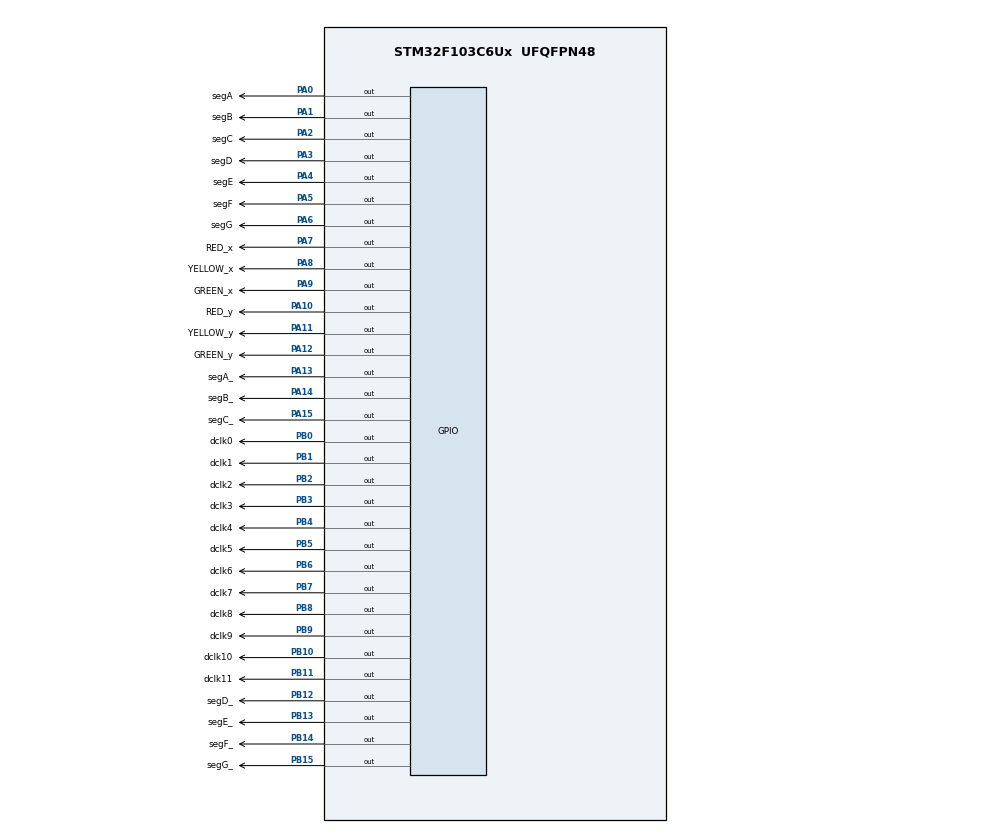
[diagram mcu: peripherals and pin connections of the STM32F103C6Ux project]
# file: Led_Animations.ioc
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Mcu.Family=STM32F1
Mcu.Name=STM32F103C6Ux
Mcu.Package=UFQFPN48
NVIC.PriorityGroup=NVIC_PRIORITYGROUP_4
PA0-WKUP.GPIO_Label=segA
PA0-WKUP.Signal=GPIO_Output
PA1.GPIO_Label=segB
PA1.Signal=GPIO_Output
PA10.GPIO_Label=RED_y
PA10.Signal=GPIO_Output
PA11.GPIO_Label=YELLOW_y
PA11.Signal=GPIO_Output
PA12.GPIO_Label=GREEN_y
PA12.Signal=GPIO_Output
PA13.GPIO_Label=segA_
PA13.Signal=GPIO_Output
PA14.GPIO_Label=segB_
PA14.Signal=GPIO_Output
PA15.GPIO_Label=segC_
PA15.Signal=GPIO_Output
PA2.GPIO_Label=segC
PA2.Signal=GPIO_Output
PA3.GPIO_Label=segD
PA3.Signal=GPIO_Output
PA4.GPIO_Label=segE
PA4.Signal=GPIO_Output
PA5.GPIO_Label=segF
PA5.Signal=GPIO_Output
PA6.GPIO_Label=segG
PA6.Signal=GPIO_Output
PA7.GPIO_Label=RED_x
PA7.Signal=GPIO_Output
PA8.GPIO_Label=YELLOW_x
PA8.Signal=GPIO_Output
PA9.GPIO_Label=GREEN_x
PA9.Signal=GPIO_Output
PB0.GPIO_Label=dclk0
PB0.Signal=GPIO_Output
PB1.GPIO_Label=dclk1
PB1.Signal=GPIO_Output
PB10.GPIO_Label=dclk10
PB10.Signal=GPIO_Output
PB11.GPIO_Label=dclk11
PB11.Signal=GPIO_Output
PB12.GPIO_Label=segD_
PB12.Signal=GPIO_Output
PB13.GPIO_Label=segE_
PB13.Signal=GPIO_Output
PB14.GPIO_Label=segF_
PB14.Signal=GPIO_Output
PB15.GPIO_Label=segG_
PB15.Signal=GPIO_Output
PB2.GPIO_Label=dclk2
PB2.Signal=GPIO_Output
PB3.GPIO_Label=dclk3
PB3.Signal=GPIO_Output
PB4.GPIO_Label=dclk4
PB4.Signal=GPIO_Output
PB5.GPIO_Label=dclk5
PB5.Signal=GPIO_Output
PB6.GPIO_Label=dclk6
PB6.Signal=GPIO_Output
PB7.GPIO_Label=dclk7
PB7.Signal=GPIO_Output
PB8.GPIO_Label=dclk8
PB8.Signal=GPIO_Output
PB9.GPIO_Label=dclk9
PB9.Signal=GPIO_Output
ProjectManager.HeapSize=0x200
ProjectManager.StackSize=0x400
ProjectManager.TargetToolchain=STM32CubeIDE
RCC.APB1Freq_Value=8000000
RCC.APB2Freq_Value=8000000
VP_SYS_VS_ND.Mode=No_Debug
board=custom

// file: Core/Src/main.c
/* USER CODE BEGIN Header */
/**
  ******************************************************************************
  * @file           : main.c
  * @brief          : Main program body
  ******************************************************************************
  * @attention
  *
  * Copyright (c) 2025 STMicroelectronics.
  * All rights reserved.
  *
  * This software is licensed under terms that can be found in the LICENSE file
  * in the root directory of this software component.
  * If no LICENSE file comes with this software, it is provided AS-IS.
  *
  ******************************************************************************
  */

/* !!! UNCOMMENT OUT 1 line that need for testing, others need to be commented out !!!*/

//#define ex1 1		//---Exercise 1 execution---//
//#define ex2 1		//---Exercise 2 execution---//
//#define ex3 1		//---Exercise 3 execution---//
//#define ex4 1		//---Exercise 4 execution---//
#define ex5 1		//---Exercise 5 execution---//
//#define ex6 1		//---Exercise 6 execution---//
//#define dclk 1	//---Exercise 10 (7,8,9 integrated) execution---//

/* USER CODE END Header */
#include "main.h"

/* USER CODE BEGIN Includes */
#include "traffic_light.h"
#include "led7seg.h"
#include "digital_clk.h"
/* USER CODE END Includes */

/* USER CODE BEGIN PD */
#define t_RED 		9U	/*RED light interval */
#define t_GREEN		8U	/* GREEN light */
#define t_YELLOW	3U	/* YELLOW light */
/* USER CODE END PD */

/* USER CODE BEGIN PM */
#define init_state				0U
#define xRED_yGREEN_state		xRED 	| yGREEN
#define xRED_yYELLOW_state		xRED 	| yYELLOW
#define xGREEN_yRED_state		xGREEN 	| yRED
#define xYELLOW_yRED_state		xYELLOW | yRED
/* USER CODE END PM */

void SystemClock_Config(void);
static void MX_GPIO_Init(void);

int main(void)
{

  /* MCU Configuration--------------------------------------------------------*/

  /* Reset of all peripherals, Initializes the Flash interface and the Systick. */
  HAL_Init();

  /* Configure the system clock */
  SystemClock_Config();

  /* Initialize all configured peripherals */
  MX_GPIO_Init();

  /* Infinite loop */
  /* USER CODE BEGIN WHILE */
#if defined(ex1) || defined(ex2) || defined(ex3) || defined(ex4) || defined(ex5)
  uint8_t amber_green_countdown;
  uint8_t red_countdown;
#if !defined(ex1) && !defined(ex4)
  uint8_t state = init_state;
#endif
#endif /* defined ex1 || ex2 || ex3 || ex4 || ex5 */

#ifdef dclk
  uint8_t hour = 11;
  uint8_t min = 17;
  uint8_t sec = 30;
  clearAllClock(); //Initialize digital clock state
#endif /* dclk */

  while (1)
  {
#ifdef ex1
	  HAL_GPIO_WritePin(YELLOW_x_GPIO_Port, YELLOW_x_Pin, counter >> 1);
	  HAL_GPIO_WritePin(RED_x_GPIO_Port, RED_x_Pin, !(counter >> 1));

	  counter = (counter + 1) % 4;

#elif ex2
	  mask = 0;
	  if (counter < 5)
		  mask = xRED;
	  else if (counter < 8)
		  mask = xGREEN;
	  else
		  mask = xYELLOW;

	  Light_Control(mask);

	  counter = (counter + 1) % 10;

#elif ex3
	  mask = 0;
	  if (counter < 3)
		  mask = xRED | yGREEN;
	  else if (counter < 5)
		  mask = xRED | yYELLOW;
	  else if (counter < 8)
		  mask = yRED | xGREEN;
	  else
		  mask = yRED | xYELLOW;

	  Light_Control(mask);

	  counter = (counter + 1) % 10;

#elif ex4
	  if (counter >= 10) counter = 0;
	  display7SEG(counter++, 0);

#elif ex5
	  switch(state)
	  {
	  case (init_state):
			  amber_green_countdown = t_GREEN;
	  	  	  red_countdown = t_RED;
	  	  	  state = xRED_yGREEN_state;
			  continue;
	  case (xRED_yGREEN_state):
			  if (amber_green_countdown <= 0)
			  {
				  amber_green_countdown = t_YELLOW;
				  state = xRED_yYELLOW_state;
			  }
			  break;
	  case (xRED_yYELLOW_state):
			  if (amber_green_countdown <= 0)
			  {
				  amber_green_countdown = t_GREEN;
				  red_countdown = t_RED;
				  state = xGREEN_yRED_state;
			  }
			  break;
	  case (xGREEN_yRED_state):
			  if (amber_green_countdown <= 0)
			  {
				  amber_green_countdown = t_YELLOW;
				  state = xYELLOW_yRED_state;
			  }
			  break;
	  case (xYELLOW_yRED_state):
			  if (amber_green_countdown <= 0)
			  {
				  amber_green_countdown = t_GREEN;
				  red_countdown = t_RED;
				  state = xRED_yGREEN_state;
			  }
			  break;
	  default:
		  break;
	  }
	  Light_Control(state);
	  display7SEG(amber_green_countdown, (state & xRED) ? 1 : 0);
	  display7SEG(red_countdown, (state & xRED) ? 0 : 1);
	  amber_green_countdown--;
	  red_countdown--;
#elif ex6
	  testClock(counter++);

#elif dclk
	  setNumberOnClock(hour);
	  setNumberOnClock(min/5);
	  setNumberOnClock(sec/5);
#endif

	  HAL_Delay(1000);

#ifdef dclk
	  clearNumberOnClock(hour);
	  clearNumberOnClock(min/5);
	  clearNumberOnClock(sec/5);

	  sec++;
	  if (sec >= 60)
	  {
		  min++;
		  sec = 0;
	  }
	  if (min >= 60)
	  {
		  hour++;
		  min = 0;
	  }
	  if (hour >= 12)
		  hour = 0;

#endif /* dclk */
    /* USER CODE END WHILE */

  }
}

void SystemClock_Config(void)
{
  RCC_OscInitTypeDef RCC_OscInitStruct = {0};
  RCC_ClkInitTypeDef RCC_ClkInitStruct = {0};

  /** Initializes the RCC Oscillators according to the specified parameters
  * in the RCC_OscInitTypeDef structure.
  */
  RCC_OscInitStruct.OscillatorType = RCC_OSCILLATORTYPE_HSI;
  RCC_OscInitStruct.HSIState = RCC_HSI_ON;
  RCC_OscInitStruct.HSICalibrationValue = RCC_HSICALIBRATION_DEFAULT;
  RCC_OscInitStruct.PLL.PLLState = RCC_PLL_NONE;
  if (HAL_RCC_OscConfig(&RCC_OscInitStruct) != HAL_OK)
  {
    Error_Handler();
  }

  /** Initializes the CPU, AHB and APB buses clocks
  */
  RCC_ClkInitStruct.ClockType = RCC_CLOCKTYPE_HCLK|RCC_CLOCKTYPE_SYSCLK
                              |RCC_CLOCKTYPE_PCLK1|RCC_CLOCKTYPE_PCLK2;
  RCC_ClkInitStruct.SYSCLKSource = RCC_SYSCLKSOURCE_HSI;
  RCC_ClkInitStruct.AHBCLKDivider = RCC_SYSCLK_DIV1;
  RCC_ClkInitStruct.APB1CLKDivider = RCC_HCLK_DIV1;
  RCC_ClkInitStruct.APB2CLKDivider = RCC_HCLK_DIV1;

  if (HAL_RCC_ClockConfig(&RCC_ClkInitStruct, FLASH_LATENCY_0) != HAL_OK)
  {
    Error_Handler();
  }
}

static void MX_GPIO_Init(void)
{
  GPIO_InitTypeDef GPIO_InitStruct = {0};

  /* GPIO Ports Clock Enable */
  __HAL_RCC_GPIOA_CLK_ENABLE();
  __HAL_RCC_GPIOB_CLK_ENABLE();

  /*Configure GPIO pin Output Level */
  HAL_GPIO_WritePin(GPIOA, segA_Pin|segB_Pin|segC_Pin|segD_Pin
                          |segE_Pin|segF_Pin|segG_Pin|RED_x_Pin
                          |YELLOW_x_Pin|GREEN_x_Pin|RED_y_Pin|YELLOW_y_Pin
                          |GREEN_y_Pin|segA__Pin|segB__Pin|segC__Pin, GPIO_PIN_RESET);

  /*Configure GPIO pin Output Level */
  HAL_GPIO_WritePin(GPIOB, dclk0_Pin|dclk1_Pin|dclk2_Pin|dclk10_Pin
                          |dclk11_Pin|segD__Pin|segE__Pin|segF__Pin
                          |segG__Pin|dclk3_Pin|dclk4_Pin|dclk5_Pin
                          |dclk6_Pin|dclk7_Pin|dclk8_Pin|dclk9_Pin, GPIO_PIN_RESET);

  /*Configure GPIO pins : segA_Pin segB_Pin segC_Pin segD_Pin
                           segE_Pin segF_Pin segG_Pin RED_x_Pin
                           YELLOW_x_Pin GREEN_x_Pin RED_y_Pin YELLOW_y_Pin
                           GREEN_y_Pin segA__Pin segB__Pin segC__Pin */
  GPIO_InitStruct.Pin = segA_Pin|segB_Pin|segC_Pin|segD_Pin
                          |segE_Pin|segF_Pin|segG_Pin|RED_x_Pin
                          |YELLOW_x_Pin|GREEN_x_Pin|RED_y_Pin|YELLOW_y_Pin
                          |GREEN_y_Pin|segA__Pin|segB__Pin|segC__Pin;
  GPIO_InitStruct.Mode = GPIO_MODE_OUTPUT_PP;
  GPIO_InitStruct.Pull = GPIO_NOPULL;
  GPIO_InitStruct.Speed = GPIO_SPEED_FREQ_LOW;
  HAL_GPIO_Init(GPIOA, &GPIO_InitStruct);

  /*Configure GPIO pins : dclk0_Pin dclk1_Pin dclk2_Pin dclk10_Pin
                           dclk11_Pin segD__Pin segE__Pin segF__Pin
                           segG__Pin dclk3_Pin dclk4_Pin dclk5_Pin
                           dclk6_Pin dclk7_Pin dclk8_Pin dclk9_Pin */
  GPIO_InitStruct.Pin = dclk0_Pin|dclk1_Pin|dclk2_Pin|dclk10_Pin
                          |dclk11_Pin|segD__Pin|segE__Pin|segF__Pin
                          |segG__Pin|dclk3_Pin|dclk4_Pin|dclk5_Pin
                          |dclk6_Pin|dclk7_Pin|dclk8_Pin|dclk9_Pin;
  GPIO_InitStruct.Mode = GPIO_MODE_OUTPUT_PP;
  GPIO_InitStruct.Pull = GPIO_NOPULL;
  GPIO_InitStruct.Speed = GPIO_SPEED_FREQ_LOW;
  HAL_GPIO_Init(GPIOB, &GPIO_InitStruct);

}

void Error_Handler(void)
{
  __disable_irq();
  while (1)
  {
  }
}
